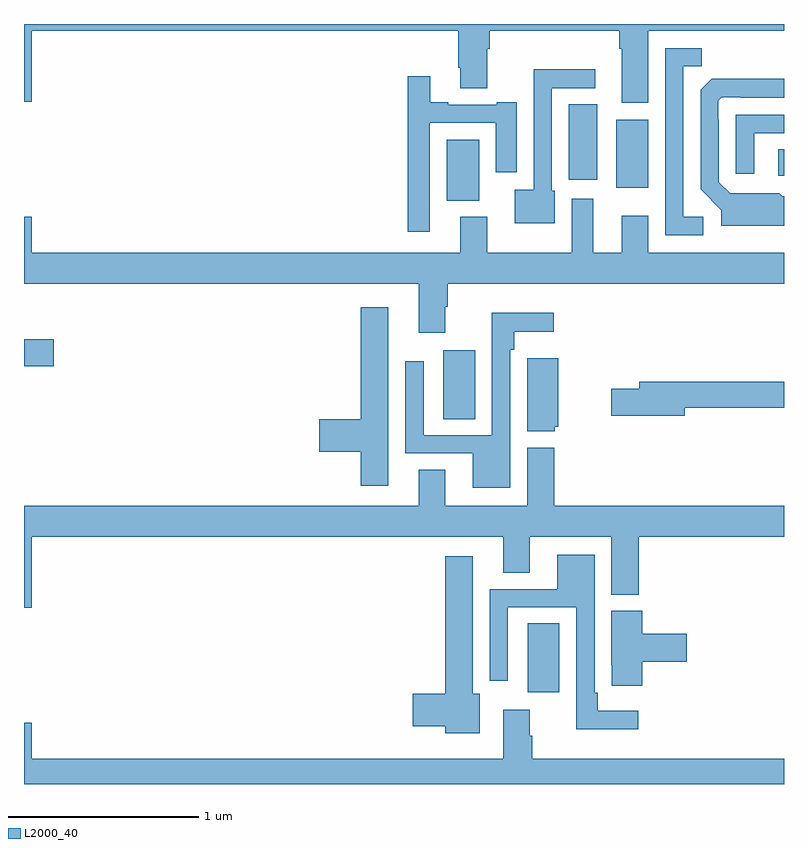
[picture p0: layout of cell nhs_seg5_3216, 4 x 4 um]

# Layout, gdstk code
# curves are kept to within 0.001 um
import gdstk
lib = gdstk.Library(unit=1e-6, precision=1e-09)
def R(c, l, rs):  # rectangles x0, y0, x1, y1
    for r in rs: c.add(gdstk.rectangle(r[:2], r[2:], *l))
def P(c, l, *ps):  # polygons
    for p in ps: c.add(gdstk.Polygon(p, *l))
L2000_40 = (2000, 40)

nhs_seg5_3216 = lib.new_cell('nhs_seg5_3216')
R(nhs_seg5_3216, L2000_40, [(299.651,849.282,299.818,849.644), (299.207,850.72,299.374,851.083), (297,850.997,297.157,851.139), (299.225,851.87,299.395,852.19), (300.116,851.936,300.286,852.295), (299.867,851.979,300.016,852.377), (300.969,852,301,852.14)])
P(nhs_seg5_3216, L2000_40, [(300.286,852.764),(301,852.764),(301,852.799),(297,852.799),(297,852.39),(297.04,852.39),(297.04,852.764),(299.285,852.764),(299.285,852.568),(299.297,852.568),(299.297,852.46),(299.437,852.46),(299.437,852.668),(299.45,852.668),(299.45,852.764),(300.134,852.764),(300.134,852.668),(300.146,852.668),(300.146,852.384),(300.286,852.384)],
  [(300.574,851.784),(300.471,851.784),(300.471,852.577),(300.567,852.577),(300.567,852.672),(300.375,852.672),(300.375,851.688),(300.574,851.688)],
  [(299.794,851.922),(299.778,851.922),(299.778,852.462),(300.007,852.462),(300.007,852.56),(299.682,852.56),(299.682,851.926),(299.582,851.926),(299.582,851.75),(299.794,851.75)],
  [(299.136,852.279),(299.483,852.279),(299.483,852.018),(299.593,852.018),(299.593,852.388),(299.489,852.388),(299.489,852.375),(299.233,852.375),(299.233,852.388),(299.137,852.388),(299.137,852.523),(299.02,852.523),(299.02,851.706),(299.136,851.706)],
  [(301,851.892),(300.99,851.892),(300.974,851.908),(300.717,851.907),(300.657,851.967),(300.657,852.296),(300.654,852.296),(300.654,852.396),(300.672,852.414),(300.772,852.414),(300.772,852.411),(301,852.411),(301,852.512),(300.62,852.511),(300.561,852.452),(300.561,851.93),(300.671,851.82),(300.671,851.738),(301,851.738)],
  [(300.843,852.225),(301,852.225),(301,852.321),(300.747,852.321),(300.747,852.012),(300.843,852.012)],
  [(299.218,851.312),(299.231,851.312),(299.231,851.432),(301,851.432),(301,851.596),(300.286,851.596),(300.286,851.791),(300.146,851.791),(300.146,851.596),(299.995,851.596),(299.995,851.878),(299.882,851.878),(299.882,851.596),(299.437,851.596),(299.437,851.785),(299.297,851.785),(299.297,851.596),(297.04,851.596),(297.04,851.785),(297,851.785),(297,851.432),(299.078,851.432),(299.078,851.175),(299.218,851.175)],
  [(298.918,851.308),(298.772,851.308),(298.772,850.718),(298.554,850.718),(298.554,850.547),(298.772,850.547),(298.772,850.368),(298.918,850.368)],
  [(299.559,851.084),(299.579,851.084),(299.579,851.18),(299.788,851.18),(299.788,851.278),(299.463,851.278),(299.463,850.635),(299.103,850.635),(299.103,851.023),(299.007,851.023),(299.007,850.539),(299.363,850.539),(299.363,850.358),(299.559,850.358)],
  [(299.793,850.68),(299.812,850.68),(299.812,851.041),(299.648,851.041),(299.648,850.655),(299.793,850.655)],
  [(300.478,850.78),(301,850.78),(301,850.916),(300.239,850.916),(300.239,850.88),(300.09,850.88),(300.09,850.738),(300.478,850.738)],
  [(297.04,850.1),(299.522,850.1),(299.522,849.91),(299.662,849.91),(299.662,850.1),(300.092,850.1),(300.092,849.796),(300.236,849.796),(300.236,850.1),(301,850.1),(301,850.264),(299.792,850.264),(299.792,850.57),(299.648,850.57),(299.648,850.264),(299.218,850.264),(299.218,850.454),(299.078,850.454),(299.078,850.264),(297,850.264),(297,849.726),(297.04,849.726)],
  [(300.232,849.184),(300.019,849.184),(300.019,849.28),(300.003,849.28),(300.003,850.006),(299.807,850.006),(299.807,849.825),(299.451,849.825),(299.451,849.342),(299.547,849.342),(299.547,849.729),(299.907,849.729),(299.907,849.086),(300.232,849.086)],
  [(299.398,849.275),(299.362,849.275),(299.362,849.997),(299.216,849.997),(299.216,849.275),(299.046,849.275),(299.046,849.104),(299.216,849.104),(299.216,849.065),(299.398,849.065)],
  [(300.254,849.443),(300.487,849.443),(300.487,849.59),(300.254,849.59),(300.254,849.711),(300.092,849.711),(300.092,849.427),(300.093,849.427),(300.093,849.315),(300.254,849.315)],
  [(301,848.932),(299.675,848.932),(299.675,849.053),(299.662,849.053),(299.662,849.19),(299.522,849.19),(299.522,848.932),(297.04,848.932),(297.04,849.121),(297,849.121),(297,848.799),(301,848.799)])

lib.write_gds('nhs_seg5_3216.gds')
